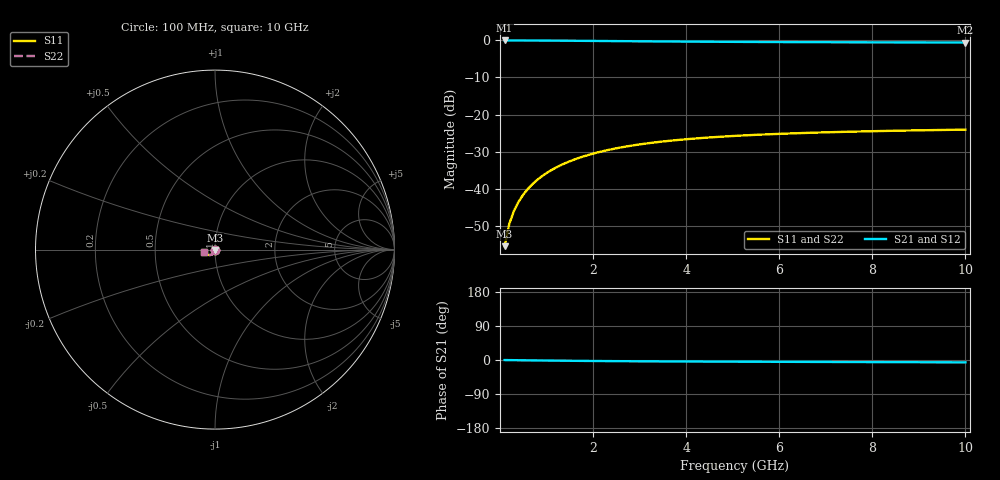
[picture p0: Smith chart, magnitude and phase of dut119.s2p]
! Touchstone file exported from HFSS 2024.1.0
!  File:  C:/UserFiles/LocalFiles/RDL_TSV_Batchsim/temp_TSV1_119_1779378716.aedt
!  Generated:  11:56:58 PM May 21, 2026
!  Design:  TSV1
!  Project:  temp_TSV1_119_1779378716
!  Setup:  Setup1
!  Solution:  Sweep
! Variables:
!  dtsv = 10.61um
!  hbump = 3um
!  htsv = 99.81um
!  lrdl = 252.1521522um
!  p = 40
!  p1 = 44.78um
!  t = 500um
!  trdl = 3um
!  wrdl = 24.89489489um
# GHz S MA R 50.000000
! Terminal data exported
! Port[1] = TSV22_T1
! Port[2] = TSV22_T2
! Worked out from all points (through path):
!   100 points, 100 MHz to 10 GHz, reference 50 ohm
!   highest |S21| = 0.00 dB at 100 MHz (marker M1); lowest = -0.6 dB at 10 GHz (marker M2)
!   lowest |S11| = -55.6 dB at 100 MHz (marker M3), VSWR 1.00, Z = 50 - j0.167 ohm
!   |S11| at or under -10 dB: start of sweep to end of sweep
!   |S22| runs from -55.6 to -24.1 dB; largest |S21 - S12| = 5.7e-15
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0.1  0.001668 -90.9  0.9997 -0.2  0.9997 -0.2  0.001668 -90.9
! Gamma 0 0 0 0
! Port Impedance 50 0 50 0
0.2  0.003334 -92.8  0.9995 -0.3  0.9995 -0.3  0.003334 -92.8
0.3  0.004993 -94.5  0.9992 -0.5  0.9992 -0.5  0.004993 -94.5
0.4  0.006643 -96.1  0.9989 -0.6  0.9989 -0.6  0.006644 -96.1
0.5  0.008281 -97.7  0.9985 -0.7  0.9985 -0.7  0.008282 -97.7
0.6  0.009904 -99.3  0.998 -0.9  0.998 -0.9  0.009905 -99.3
0.7  0.01151 -100.9  0.9974 -1.0  0.9974 -1.0  0.01151 -100.9
0.8  0.01309 -102.4  0.9967 -1.2  0.9967 -1.2  0.01309 -102.4
0.9  0.01465 -104.0  0.996 -1.3  0.996 -1.3  0.01465 -104.0
1.1  0.01768 -107.0  0.9944 -1.6  0.9944 -1.6  0.01768 -107.0
1.4  0.02199 -111.4  0.9916 -1.9  0.9916 -1.9  0.02199 -111.4
1.6  0.02468 -114.2  0.9896 -2.2  0.9896 -2.2  0.02468 -114.2
1.8  0.02723 -116.9  0.9874 -2.4  0.9874 -2.4  0.02723 -116.9
2.1  0.03076 -120.8  0.9841 -2.7  0.9841 -2.7  0.03077 -120.8
2.5  0.03497 -125.5  0.9797 -3.0  0.9797 -3.0  0.03497 -125.5
2.9  0.03862 -129.8  0.9753 -3.3  0.9753 -3.3  0.03862 -129.8
3.4  0.04251 -134.7  0.9702 -3.6  0.9702 -3.6  0.04251 -134.7
4.2  0.04747 -141.4  0.9631 -4.0  0.9631 -4.0  0.04747 -141.4
5.1  0.05164 -147.6  0.9566 -4.4  0.9566 -4.4  0.05165 -147.6
6.7  0.05673 -156.4  0.948 -5.0  0.948 -5.0  0.05673 -156.4
8.4  0.06021 -163.6  0.9418 -5.6  0.9418 -5.6  0.06021 -163.6
10  0.06248 -169.1  0.9378 -6.2  0.9378 -6.2  0.06248 -169.1
